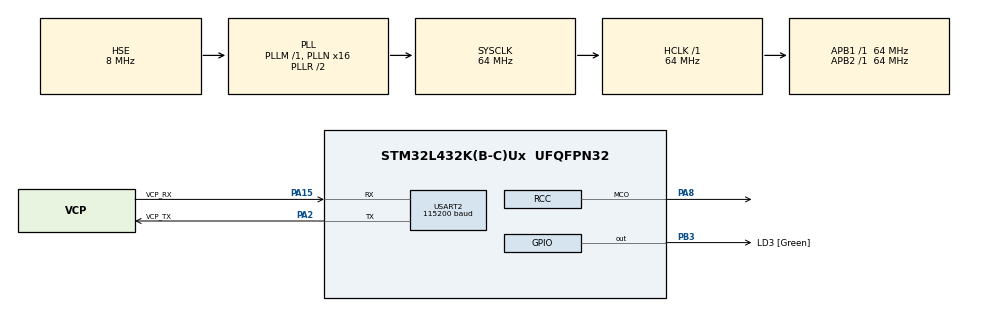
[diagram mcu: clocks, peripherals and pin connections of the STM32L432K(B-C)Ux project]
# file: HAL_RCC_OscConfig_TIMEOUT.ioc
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Mcu.Family=STM32L4
Mcu.Name=STM32L432K(B-C)Ux
Mcu.Package=UFQFPN32
NVIC.PriorityGroup=NVIC_PRIORITYGROUP_4
PA0.GPIO_Label=MCO [High speed clock in]
PA0.Mode=HSE-External-Clock-Source-for-LittleOrca
PA0.Signal=RCC_CK_IN
PA13\ (JTMS-SWDIO).GPIO_Label=SWDIO
PA13\ (JTMS-SWDIO).Mode=Serial_Wire
PA13\ (JTMS-SWDIO).Signal=SYS_JTMS-SWDIO
PA14\ (JTCK-SWCLK).GPIO_Label=SWCLK
PA14\ (JTCK-SWCLK).Mode=Serial_Wire
PA14\ (JTCK-SWCLK).Signal=SYS_JTCK-SWCLK
PA15\ (JTDI).GPIO_Label=VCP_RX
PA15\ (JTDI).Mode=Asynchronous
PA15\ (JTDI).Signal=USART2_RX
PA2.GPIO_Label=VCP_TX
PA2.Mode=Asynchronous
PA2.Signal=USART2_TX
PA8.Mode=Clock-out
PA8.Signal=RCC_MCO
PB3\ (JTDO-TRACESWO).GPIO_Label=LD3 [Green]
PB3\ (JTDO-TRACESWO).Signal=GPIO_Output
PC14-OSC32_IN\ (PC14).Mode=LSE-External-Oscillator
PC14-OSC32_IN\ (PC14).Signal=RCC_OSC32_IN
PC15-OSC32_OUT\ (PC15).Mode=LSE-External-Oscillator
PC15-OSC32_OUT\ (PC15).Signal=RCC_OSC32_OUT
ProjectManager.HeapSize=0x200
ProjectManager.StackSize=0x400
ProjectManager.TargetToolchain=CMake
RCC.ADCFreq_Value=32000000
RCC.AHBFreq_Value=64000000
RCC.APB1Freq_Value=64000000
RCC.APB1TimFreq_Value=64000000
RCC.APB2Freq_Value=64000000
RCC.APB2TimFreq_Value=64000000
RCC.CortexFreq_Value=64000000
RCC.HCLKFreq_Value=64000000
RCC.HSE_VALUE=8000000
RCC.HSI16_VALUE=16000000
RCC.HSI48_VALUE=48000000
RCC.HSI_VALUE=16000000
RCC.MSI_VALUE=4000000
RCC.PLLMUL=RCC_PLLMUL_4
RCC.PLLN=16
RCC.PLLSourceVirtual=RCC_PLLSOURCE_HSE
RCC.RCC_MCODiv=RCC_MCODIV_8
RCC.SYSCLKFreq_VALUE=64000000
RCC.SYSCLKSource=RCC_SYSCLKSOURCE_PLLCLK
RCC.USART2CLockSelection=RCC_USART2CLKSOURCE_HSI
RCC.USBFreq_Value=32000000
RCC.VCOOutputFreq_Value=128000000
USART2.BaudRate=115200
USART2.OverSampling=UART_OVERSAMPLING_16
USART2.VirtualMode-Asynchronous=VM_ASYNC
board=NUCLEO-L432KC

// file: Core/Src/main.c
/* USER CODE BEGIN Header */
/**
  ******************************************************************************
  * @file           : main.c
  * @brief          : Main program body
  ******************************************************************************
  * @attention
  *
  * Copyright (c) 2024 STMicroelectronics.
  * All rights reserved.
  *
  * This software is licensed under terms that can be found in the LICENSE file
  * in the root directory of this software component.
  * If no LICENSE file comes with this software, it is provided AS-IS.
  *
  ******************************************************************************
  */
/* USER CODE END Header */
#include "main.h"

UART_HandleTypeDef huart2;

void SystemClock_Config(void);
static void MX_GPIO_Init(void);
static void MX_USART2_UART_Init(void);

/* USER CODE BEGIN 0 */
void Error(void)
{
  while (1) {
    HAL_GPIO_TogglePin(LD3_GPIO_Port, LD3_Pin);
    HAL_Delay(100);
  }
}

void SysClock2(void)
{
  RCC_OscInitTypeDef RCC_OscInitStruct = {0};
  RCC_ClkInitTypeDef RCC_ClkInitStruct = {0};

  if (HAL_RCC_GetHCLKFreq() == 2000000)
      return;

  HAL_PWREx_DisableLowPowerRunMode();

  /** Configure the main internal regulator output voltage
   */
  if (HAL_PWREx_ControlVoltageScaling(PWR_REGULATOR_VOLTAGE_SCALE1) != HAL_OK) {
      Error_Handler();
  }

  RCC_ClkInitStruct.ClockType = RCC_CLOCKTYPE_SYSCLK;
  RCC_ClkInitStruct.SYSCLKSource = RCC_SYSCLKSOURCE_HSI;

  // Use HSI for SysClock while reconfiguring clocks.
  if (HAL_RCC_ClockConfig(&RCC_ClkInitStruct, FLASH_LATENCY_0) != HAL_OK) {
      Error_Handler();
  }

  // Configure the Systick interrupt to ensure timeouts are measured
  // correctly in HAL_RCC_OscConfig.
  HAL_SYSTICK_Config(HAL_RCC_GetHCLKFreq() / 1000);

  // __HAL_RCC_PLL_DISABLE(); // Work around HAL_RCC_OscConfig bug

  // Disable HSE, enable MSI and set to 2MHz, disable PLL.
  RCC_OscInitStruct.OscillatorType = RCC_OSCILLATORTYPE_MSI | RCC_OSCILLATORTYPE_HSE;
  RCC_OscInitStruct.HSEState = RCC_HSE_OFF;
  RCC_OscInitStruct.MSIState = RCC_MSI_ON;
  RCC_OscInitStruct.MSICalibrationValue = 0;
  RCC_OscInitStruct.MSIClockRange = RCC_MSIRANGE_5;
  RCC_OscInitStruct.PLL.PLLState = RCC_PLL_OFF;

  HAL_StatusTypeDef result = HAL_RCC_OscConfig(&RCC_OscInitStruct);
  if (result != HAL_OK)
  {
    if (result == HAL_TIMEOUT) {
      Error();
    } else {
      Error_Handler();
    }
  }

  // Set SysClock to MSI.
  RCC_ClkInitStruct.ClockType = RCC_CLOCKTYPE_SYSCLK;
  RCC_ClkInitStruct.SYSCLKSource = RCC_SYSCLKSOURCE_MSI;

  result = HAL_RCC_ClockConfig(&RCC_ClkInitStruct, FLASH_LATENCY_0);
  if (result != HAL_OK)
  {
      Error_Handler();
  }

  // Set voltage regulators to lowest power mode.
  if (HAL_PWREx_ControlVoltageScaling(PWR_REGULATOR_VOLTAGE_SCALE2) != HAL_OK) {
      Error_Handler();
  }

  HAL_PWREx_EnableLowPowerRunMode();

  // Configure the Systick interrupt time
  HAL_SYSTICK_Config(HAL_RCC_GetHCLKFreq() / 1000);
}

/* USER CODE END 0 */

int main(void)
{

  /* MCU Configuration--------------------------------------------------------*/

  /* Reset of all peripherals, Initializes the Flash interface and the Systick. */
  HAL_Init();

  /* Configure the system clock */
  SystemClock_Config();

  /* Initialize all configured peripherals */
  MX_GPIO_Init();
  MX_USART2_UART_Init();

  /* Infinite loop */
  /* USER CODE BEGIN WHILE */
  while (1)
  {
    for (int i = 0; i != 10; ++i) {
      HAL_GPIO_TogglePin(LD3_GPIO_Port, LD3_Pin);
      HAL_Delay(500);
    }

    SysClock2();

    for (int i = 0; i != 10; ++i) {
      HAL_GPIO_TogglePin(LD3_GPIO_Port, LD3_Pin);
      HAL_Delay(500);
    }
    /* USER CODE END WHILE */

  }
}

void SystemClock_Config(void)
{
  RCC_OscInitTypeDef RCC_OscInitStruct = {0};
  RCC_ClkInitTypeDef RCC_ClkInitStruct = {0};

  /** Configure the main internal regulator output voltage
  */
  if (HAL_PWREx_ControlVoltageScaling(PWR_REGULATOR_VOLTAGE_SCALE1) != HAL_OK)
  {
    Error_Handler();
  }

  /** Initializes the RCC Oscillators according to the specified parameters
  * in the RCC_OscInitTypeDef structure.
  */
  RCC_OscInitStruct.OscillatorType = RCC_OSCILLATORTYPE_HSI|RCC_OSCILLATORTYPE_HSE;
  RCC_OscInitStruct.HSEState = RCC_HSE_BYPASS;
  RCC_OscInitStruct.HSIState = RCC_HSI_ON;
  RCC_OscInitStruct.HSICalibrationValue = RCC_HSICALIBRATION_DEFAULT;
  RCC_OscInitStruct.PLL.PLLState = RCC_PLL_ON;
  RCC_OscInitStruct.PLL.PLLSource = RCC_PLLSOURCE_HSE;
  RCC_OscInitStruct.PLL.PLLM = 1;
  RCC_OscInitStruct.PLL.PLLN = 16;
  RCC_OscInitStruct.PLL.PLLP = RCC_PLLP_DIV7;
  RCC_OscInitStruct.PLL.PLLQ = RCC_PLLQ_DIV2;
  RCC_OscInitStruct.PLL.PLLR = RCC_PLLR_DIV2;
  if (HAL_RCC_OscConfig(&RCC_OscInitStruct) != HAL_OK)
  {
    Error_Handler();
  }

  /** Initializes the CPU, AHB and APB buses clocks
  */
  RCC_ClkInitStruct.ClockType = RCC_CLOCKTYPE_HCLK|RCC_CLOCKTYPE_SYSCLK
                              |RCC_CLOCKTYPE_PCLK1|RCC_CLOCKTYPE_PCLK2;
  RCC_ClkInitStruct.SYSCLKSource = RCC_SYSCLKSOURCE_PLLCLK;
  RCC_ClkInitStruct.AHBCLKDivider = RCC_SYSCLK_DIV1;
  RCC_ClkInitStruct.APB1CLKDivider = RCC_HCLK_DIV1;
  RCC_ClkInitStruct.APB2CLKDivider = RCC_HCLK_DIV1;

  if (HAL_RCC_ClockConfig(&RCC_ClkInitStruct, FLASH_LATENCY_3) != HAL_OK)
  {
    Error_Handler();
  }
  HAL_RCC_MCOConfig(RCC_MCO1, RCC_MCO1SOURCE_SYSCLK, RCC_MCODIV_8);
}

static void MX_USART2_UART_Init(void)
{

  huart2.Instance = USART2;
  huart2.Init.BaudRate = 115200;
  huart2.Init.WordLength = UART_WORDLENGTH_8B;
  huart2.Init.StopBits = UART_STOPBITS_1;
  huart2.Init.Parity = UART_PARITY_NONE;
  huart2.Init.Mode = UART_MODE_TX_RX;
  huart2.Init.HwFlowCtl = UART_HWCONTROL_NONE;
  huart2.Init.OverSampling = UART_OVERSAMPLING_16;
  huart2.Init.OneBitSampling = UART_ONE_BIT_SAMPLE_DISABLE;
  huart2.AdvancedInit.AdvFeatureInit = UART_ADVFEATURE_NO_INIT;
  if (HAL_UART_Init(&huart2) != HAL_OK)
  {
    Error_Handler();
  }

}

static void MX_GPIO_Init(void)
{
  GPIO_InitTypeDef GPIO_InitStruct = {0};

  /* GPIO Ports Clock Enable */
  __HAL_RCC_GPIOC_CLK_ENABLE();
  __HAL_RCC_GPIOA_CLK_ENABLE();
  __HAL_RCC_GPIOB_CLK_ENABLE();

  /*Configure GPIO pin Output Level */
  HAL_GPIO_WritePin(LD3_GPIO_Port, LD3_Pin, GPIO_PIN_RESET);

  /*Configure GPIO pin : PA8 */
  GPIO_InitStruct.Pin = GPIO_PIN_8;
  GPIO_InitStruct.Mode = GPIO_MODE_AF_PP;
  GPIO_InitStruct.Pull = GPIO_NOPULL;
  GPIO_InitStruct.Speed = GPIO_SPEED_FREQ_LOW;
  GPIO_InitStruct.Alternate = GPIO_AF0_MCO;
  HAL_GPIO_Init(GPIOA, &GPIO_InitStruct);

  /*Configure GPIO pin : LD3_Pin */
  GPIO_InitStruct.Pin = LD3_Pin;
  GPIO_InitStruct.Mode = GPIO_MODE_OUTPUT_PP;
  GPIO_InitStruct.Pull = GPIO_NOPULL;
  GPIO_InitStruct.Speed = GPIO_SPEED_FREQ_LOW;
  HAL_GPIO_Init(LD3_GPIO_Port, &GPIO_InitStruct);

}

void Error_Handler(void)
{
  __disable_irq();
  while (1)
  {
  }
}
